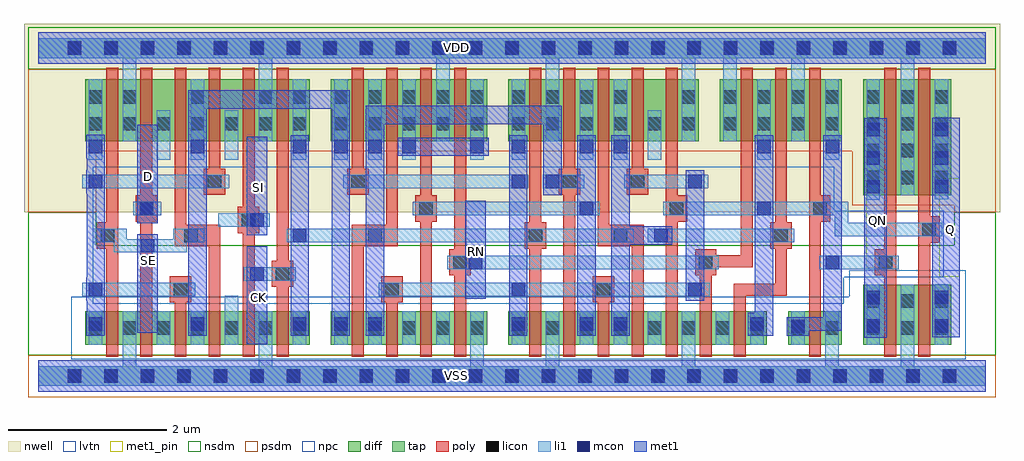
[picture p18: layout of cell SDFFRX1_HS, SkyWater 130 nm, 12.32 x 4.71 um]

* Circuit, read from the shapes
.subckt SDFFRX1_HS CK D Q QN RN SE SI VDD VSS
XM1 VSS SE n1 VSS sky130_fd_pr__nfet_01v8_lvt w=0.425 l=0.15
XM2 n2 D VSS VSS sky130_fd_pr__nfet_01v8_lvt w=0.425 l=0.15
XM3 n3 n1 n2 VSS sky130_fd_pr__nfet_01v8_lvt w=0.425 l=0.15
XM4 n4 SE n3 VSS sky130_fd_pr__nfet_01v8_lvt w=0.425 l=0.15
XM5 VSS SI n4 VSS sky130_fd_pr__nfet_01v8_lvt w=0.425 l=0.15
XM6 n5 CK VSS VSS sky130_fd_pr__nfet_01v8_lvt w=0.425 l=0.15
XM7 n6 n5 n3 VSS sky130_fd_pr__nfet_01v8_lvt w=0.425 l=0.15
XM8 n7 n8 n6 VSS sky130_fd_pr__nfet_01v8_lvt w=0.425 l=0.15
XM9 n9 n10 n7 VSS sky130_fd_pr__nfet_01v8_lvt w=0.425 l=0.15
XM10 VSS RN n9 VSS sky130_fd_pr__nfet_01v8_lvt w=0.425 l=0.15
XM11 VSS n5 n8 VSS sky130_fd_pr__nfet_01v8_lvt w=0.425 l=0.15
XM12 n10 n6 VSS VSS sky130_fd_pr__nfet_01v8_lvt w=0.425 l=0.15
XM13 n11 n8 n10 VSS sky130_fd_pr__nfet_01v8_lvt w=0.425 l=0.15
XM14 n12 n5 n11 VSS sky130_fd_pr__nfet_01v8_lvt w=0.425 l=0.15
XM15 VSS n13 n12 VSS sky130_fd_pr__nfet_01v8_lvt w=0.425 l=0.15
XM16 n14 RN VSS VSS sky130_fd_pr__nfet_01v8_lvt w=0.425 l=0.15
XM17 n13 n11 n14 VSS sky130_fd_pr__nfet_01v8_lvt w=0.425 l=0.15
XM18 VSS n13 n15 VSS sky130_fd_pr__nfet_01v8_lvt w=0.425 l=0.15
XM19 VSS n15 QN VSS sky130_fd_pr__nfet_01v8_lvt w=0.76 l=0.15
XM20 Q n13 VSS VSS sky130_fd_pr__nfet_01v8_lvt w=0.76 l=0.15
XM21 VDD SE n1 VDD sky130_fd_pr__pfet_01v8 w=0.78 l=0.15
XM22 n16 D VDD VDD sky130_fd_pr__pfet_01v8 w=0.78 l=0.15
XM23 n3 SE n16 VDD sky130_fd_pr__pfet_01v8 w=0.78 l=0.15
XM24 n17 n1 n3 VDD sky130_fd_pr__pfet_01v8 w=0.78 l=0.15
XM25 VDD SI n17 VDD sky130_fd_pr__pfet_01v8 w=0.78 l=0.15
XM26 n5 CK VDD VDD sky130_fd_pr__pfet_01v8 w=0.78 l=0.15
XM27 n6 n8 n3 VDD sky130_fd_pr__pfet_01v8 w=0.78 l=0.15
XM28 n18 n5 n6 VDD sky130_fd_pr__pfet_01v8 w=0.78 l=0.15
XM29 VDD n10 n18 VDD sky130_fd_pr__pfet_01v8 w=0.78 l=0.15
XM30 n18 RN VDD VDD sky130_fd_pr__pfet_01v8 w=0.78 l=0.15
XM31 VDD n5 n8 VDD sky130_fd_pr__pfet_01v8 w=0.78 l=0.15
XM32 n10 n6 VDD VDD sky130_fd_pr__pfet_01v8 w=0.78 l=0.15
XM33 n11 n5 n10 VDD sky130_fd_pr__pfet_01v8 w=0.78 l=0.15
XM34 n19 n8 n11 VDD sky130_fd_pr__pfet_01v8 w=0.78 l=0.15
XM35 VDD n13 n19 VDD sky130_fd_pr__pfet_01v8 w=0.78 l=0.15
XM36 n13 RN VDD VDD sky130_fd_pr__pfet_01v8 w=0.78 l=0.15
XM37 VDD n11 n13 VDD sky130_fd_pr__pfet_01v8 w=0.78 l=0.15
XM38 n15 n13 VDD VDD sky130_fd_pr__pfet_01v8 w=0.78 l=0.15
XM39 VDD n15 QN VDD sky130_fd_pr__pfet_01v8 w=1.46 l=0.15
XM40 Q n13 VDD VDD sky130_fd_pr__pfet_01v8 w=1.46 l=0.15
.ends

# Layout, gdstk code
from math import pi, radians
import gdstk
lib = gdstk.Library(unit=1e-6, precision=1e-09)
def R(c, l, rs):  # rectangles x0, y0, x1, y1
    for r in rs: c.add(gdstk.rectangle(r[:2], r[2:], *l))
def A(c, l, x, y, w, h, nx, ny, dx, dy):  # array of equal rectangles
    R(c, l, [(x+i*dx, y+j*dy, x+i*dx+w, y+j*dy+h) for i in range(nx) for j in range(ny)])
def P(c, l, *ps):  # polygons
    for p in ps: c.add(gdstk.Polygon(p, *l))
nwell = (64, 20)
diff = (65, 20)
tap = (65, 44)
poly = (66, 20)
licon = (66, 44)
li1 = (67, 20)
mcon = (67, 44)
met1_pin = (68, 16)
met1 = (68, 20)
nsdm = (93, 44)
psdm = (94, 20)
npc = (95, 20)
lvtn = (125, 44)

licondiff_c_cdns_7587291 = lib.new_cell('LICONDIFF_C_CDNS_7587291728611')
R(licondiff_c_cdns_7587291, diff, [(-0.125,-0.145,0.125,0.145)])
R(licondiff_c_cdns_7587291, licon, [(-0.085,-0.085,0.085,0.085), (-0.085,-0.085,0.085,0.085)])

l1m1_c_cdns_758729172861 = lib.new_cell('L1M1_C_CDNS_758729172861')
R(l1m1_c_cdns_758729172861, li1, [(-0.085,-0.165,0.085,0.165)])
R(l1m1_c_cdns_758729172861, mcon, [(-0.085,-0.085,0.085,0.085)])
R(l1m1_c_cdns_758729172861, met1, [(-0.115,-0.145,0.115,0.145)])

l1m1_c_cdns_758729172860 = lib.new_cell('L1M1_C_CDNS_758729172860')
R(l1m1_c_cdns_758729172860, li1, [(-0.165,-0.085,0.165,0.085)])
R(l1m1_c_cdns_758729172860, mcon, [(-0.085,-0.085,0.085,0.085)])
R(l1m1_c_cdns_758729172860, met1, [(-0.115,-0.145,0.115,0.145)])

l1m1_c_cdns_758729172862 = lib.new_cell('L1M1_C_CDNS_7587291728621')
R(l1m1_c_cdns_758729172862, li1, [(-0.125,-0.085,0.125,0.085)])
R(l1m1_c_cdns_758729172862, mcon, [(-0.085,-0.085,0.085,0.085)])
R(l1m1_c_cdns_758729172862, met1, [(-0.115,-0.145,0.115,0.145)])

c_l1m1_c_cdns_758729172862 = lib.new_cell('L1M1_C_CDNS_7587291728623')
R(c_l1m1_c_cdns_758729172862, li1, [(-0.085,-0.165,0.085,0.165)])
R(c_l1m1_c_cdns_758729172862, mcon, [(-0.085,-0.085,0.085,0.085)])
R(c_l1m1_c_cdns_758729172862, met1, [(-0.145,-0.085,0.145,0.085)])

l1m1_c_cdns_758729172865 = lib.new_cell('L1M1_C_CDNS_758729172865')
R(l1m1_c_cdns_758729172865, li1, [(-0.165,-0.085,0.165,0.085)])
R(l1m1_c_cdns_758729172865, mcon, [(-0.085,-0.085,0.085,0.085)])
R(l1m1_c_cdns_758729172865, met1, [(-0.145,-0.115,0.145,0.115)])

pyl1con_c_cdns_758729172 = lib.new_cell('PYL1CON_C_CDNS_758729172862')
R(pyl1con_c_cdns_758729172, poly, [(-0.135,-0.165,0.135,0.165)])
R(pyl1con_c_cdns_758729172, licon, [(-0.085,-0.085,0.085,0.085)])
R(pyl1con_c_cdns_758729172, npc, [(-0.185,-0.185,0.185,0.185)])

c_pyl1con_c_cdns_758729172 = lib.new_cell('PYL1CON_C_CDNS_7587291728622')
R(c_pyl1con_c_cdns_758729172, poly, [(-0.135,-0.37,0.135,0.21)])
R(c_pyl1con_c_cdns_758729172, licon, [(-0.085,-0.085,0.085,0.085)])
R(c_pyl1con_c_cdns_758729172, npc, [(-0.185,-0.185,0.185,0.185)])

c_pyl1con_c_cdns_758729172_ = lib.new_cell('PYL1CON_C_CDNS_7587291728618')
R(c_pyl1con_c_cdns_758729172_, poly, [(-0.135,-0.29,0.135,0.29)])
R(c_pyl1con_c_cdns_758729172_, licon, [(-0.085,-0.085,0.085,0.085)])
R(c_pyl1con_c_cdns_758729172_, npc, [(-0.185,-0.185,0.185,0.185)])

c_l1m1_c_cdns_758729172861 = lib.new_cell('L1M1_C_CDNS_7587291728613')
R(c_l1m1_c_cdns_758729172861, li1, [(-0.085,-0.525,0.085,0.525)])
A(c_l1m1_c_cdns_758729172861, mcon, -0.085, -0.445, 0.17, 0.17, 1, 3, 0, 0.36)
R(c_l1m1_c_cdns_758729172861, met1, [(-0.115,-0.505,0.115,0.505)])

l1m1_c_cdns_758729172863 = lib.new_cell('L1M1_C_CDNS_758729172863')
R(l1m1_c_cdns_758729172863, li1, [(-0.085,-0.165,0.085,0.165)])
R(l1m1_c_cdns_758729172863, mcon, [(-0.085,-0.085,0.085,0.085)])
R(l1m1_c_cdns_758729172863, met1, [(-0.145,-0.115,0.145,0.115)])

l1m1_c_cdns_758729172864 = lib.new_cell('L1M1_C_CDNS_758729172864')
R(l1m1_c_cdns_758729172864, li1, [(-0.085,-0.345,0.085,0.345)])
R(l1m1_c_cdns_758729172864, mcon, [(-0.085,-0.265,0.085,-0.095), (-0.085,0.095,0.085,0.265)])
R(l1m1_c_cdns_758729172864, met1, [(-0.115,-0.325,0.115,0.325)])

sdffrx1_hs = lib.new_cell('SDFFRX1_HS')
R(sdffrx1_hs, nwell, [(-0.18,2.07,12.14,4.445)])
R(sdffrx1_hs, diff, [(0.595,0.395,3.425,0.82), (3.695,0.395,5.665,0.82), (5.935,0.395,9.195,0.82), (9.465,0.395,10.145,0.82), (10.415,0.395,11.525,1.155), (10.415,2.285,11.525,3.745), (0.595,2.965,3.425,3.745), (3.695,2.965,5.665,3.745), (5.935,2.965,8.335,3.745), (8.605,2.965,10.145,3.745)])
A(sdffrx1_hs, poly, 1.72, 0.245, 0.15, 0.725, 3, 1, 2.67, 0)
R(sdffrx1_hs, poly, [(0.86,0.245,1.01,3.895), (1.29,0.245,1.44,3.895), (2.58,0.245,2.73,3.895), (3.01,0.245,3.16,3.895), (4.82,0.245,4.97,3.895), (5.25,0.245,5.4,3.895), (6.2,0.245,6.35,3.895), (6.63,0.245,6.78,3.895), (7.92,0.245,8.07,3.895), (9.73,0.245,9.88,3.895), (10.68,0.245,10.83,3.895), (11.11,0.245,11.26,3.895), (2.15,2.455,2.3,3.895), (3.96,2.455,4.11,3.895), (7.49,2.455,7.64,3.895)])
P(sdffrx1_hs, poly, [(2.3,1.85),(1.87,1.85),(1.87,3.895),(1.72,3.895),(1.72,1.7),(2.15,1.7),(2.15,0.245),(2.3,0.245)],
  [(4.54,3.895),(4.39,3.895),(4.39,1.85),(3.96,1.85),(3.96,0.245),(4.11,0.245),(4.11,1.7),(4.54,1.7)],
  [(7.64,1.85),(7.21,1.85),(7.21,3.895),(7.06,3.895),(7.06,1.7),(7.49,1.7),(7.49,0.245),(7.64,0.245)],
  [(9.02,3.895),(8.87,3.895),(8.87,1.525),(8.35,1.525),(8.35,0.245),(8.5,0.245),(8.5,1.375),(9.02,1.375)],
  [(9.45,3.895),(9.3,3.895),(9.3,1.165),(8.78,1.165),(8.78,0.245),(8.93,0.245),(8.93,1.015),(9.45,1.015)])
A(sdffrx1_hs, licon, 0.375, -0.085, 0.17, 0.17, 25, 2, 0.46, 4.14)
A(sdffrx1_hs, licon, 0.635, 0.52, 0.17, 0.17, 7, 1, 0.43, 0)
A(sdffrx1_hs, licon, 3.735, 0.52, 0.17, 0.17, 5, 2, 0.43, 2.58)
A(sdffrx1_hs, licon, 5.975, 0.52, 0.17, 0.17, 6, 1, 0.43, 0)
A(sdffrx1_hs, licon, 10.455, 0.52, 0.17, 0.17, 3, 2, 0.43, 0.34)
A(sdffrx1_hs, licon, 10.455, 2.42, 0.17, 0.17, 3, 4, 0.43, 0.34)
A(sdffrx1_hs, licon, 1.065, 3.1, 0.17, 0.17, 3, 2, 0.86, 0.34)
A(sdffrx1_hs, licon, 5.975, 3.1, 0.17, 0.17, 4, 2, 0.43, 0.34)
A(sdffrx1_hs, licon, 8.645, 3.1, 0.17, 0.17, 4, 2, 0.43, 0.34)
A(sdffrx1_hs, licon, 3.735, 3.44, 0.17, 0.17, 5, 1, 0.43, 0)
R(sdffrx1_hs, licon, [(8.985,0.52,9.155,0.69), (9.505,0.52,9.675,0.69), (9.935,0.52,10.105,0.69), (0.635,3.1,0.805,3.27), (3.215,3.1,3.385,3.27), (8.125,3.1,8.295,3.27), (0.635,3.44,0.805,3.61), (3.215,3.44,3.385,3.61), (8.125,3.44,8.295,3.61)])
A(sdffrx1_hs, li1, 3.735, 0.395, 0.17, 0.425, 4, 1, 0.43, 0)
A(sdffrx1_hs, li1, 6.835, 0.395, 0.17, 0.425, 3, 1, 0.43, 0)
A(sdffrx1_hs, li1, 0.635, 2.965, 0.17, 0.78, 3, 1, 1.29, 0)
A(sdffrx1_hs, li1, 3.735, 2.965, 0.17, 0.78, 3, 1, 0.43, 0)
R(sdffrx1_hs, li1, [(0.635,0.395,0.805,0.82), (1.495,0.395,1.665,0.82), (1.925,0.395,2.095,0.82), (2.355,0.395,2.525,1.015), (3.215,0.395,3.385,0.82), (5.975,0.395,6.145,0.82), (8.985,0.395,9.155,0.82), (9.505,0.395,9.675,0.82), (10.455,0.395,10.625,1.155), (11.315,0.395,11.485,1.155), (10.455,2.285,10.625,3.745), (11.315,2.285,11.485,3.745), (5.455,2.965,5.625,3.745), (5.975,2.965,6.145,3.745), (6.835,2.965,7.005,3.745), (7.265,2.965,7.435,3.745), (9.075,2.965,9.245,3.745), (9.935,2.965,10.105,3.745)])
P(sdffrx1_hs, li1, [(2.095,1.86),(1.705,1.86),(1.705,1.73),(1.12,1.73),(1.12,1.86),(0.69,1.86),(0.69,1.69),(0.95,1.69),(0.95,1.56),(1.875,1.56),(1.875,1.69),(2.095,1.69)],
  [(11.41,1.935),(10.225,1.935),(10.225,2.2),(7.89,2.2),(7.89,2.03),(10.055,2.03),(10.055,1.765),(11.41,1.765)],
  [(11.96,4.265),(0,4.265),(0,4.015),(1.065,4.015),(1.065,2.965),(1.235,2.965),(1.235,4.015),(2.785,4.015),(2.785,2.965),(2.955,2.965),(2.955,4.015),(5.025,4.015),(5.025,2.965),(5.195,2.965),(5.195,4.015),(6.405,4.015),(6.405,2.965),(6.575,2.965),(6.575,4.015),(8.125,4.015),(8.125,2.965),(8.295,2.965),(8.295,4.015),(8.645,4.015),(8.645,2.965),(8.815,2.965),(8.815,4.015),(9.505,4.015),(9.505,2.965),(9.675,2.965),(9.675,4.015),(10.885,4.015),(10.885,2.285),(11.055,2.285),(11.055,4.015),(11.96,4.015)],
  [(11.96,0.125),(11.055,0.125),(11.055,1.155),(10.885,1.155),(10.885,0.125),(10.105,0.125),(10.105,0.82),(9.935,0.82),(9.935,0.125),(8.295,0.125),(8.295,0.82),(8.125,0.82),(8.125,0.125),(6.575,0.125),(6.575,0.82),(6.405,0.82),(6.405,0.125),(5.625,0.125),(5.625,0.82),(5.455,0.82),(5.455,0.125),(2.955,0.125),(2.955,0.82),(2.785,0.82),(2.785,0.125),(1.235,0.125),(1.235,0.82),(1.065,0.82),(1.065,0.125),(0,0.125),(0,-0.125),(11.96,-0.125)])
A(sdffrx1_hs, mcon, 0.375, -0.085, 0.17, 0.17, 25, 2, 0.46, 4.14)
R(sdffrx1_hs, met1_pin, [(2.63,0.4,2.89,1.64), (1.25,0.55,1.51,1.79), (5.39,0.975,5.65,2.215), (11.37,1.255,11.63,2.495), (10.45,1.365,10.71,2.605), (2.63,1.78,2.89,3.02), (1.25,1.93,1.51,3.17)])
R(sdffrx1_hs, met1, [(10.425,0.485,10.71,3.255)])
P(sdffrx1_hs, met1, [(8.005,1.89),(7.465,1.89),(7.465,3.04),(7.235,3.04),(7.235,0.51),(7.465,0.51),(7.465,1.66),(8.005,1.66)],
  [(10.14,3.04),(9.91,3.04),(9.91,0.74),(9.59,0.74),(9.59,0.57),(10.14,0.57)],
  [(11.63,3.26),(11.285,3.26),(11.285,0.495),(11.37,0.495),(11.37,0.49),(11.63,0.49)])
R(sdffrx1_hs, nsdm, [(-0.125,3.875,12.085,4.405)])
P(sdffrx1_hs, nsdm, [(12.085,2.07),(11.56,2.07),(11.56,1.65),(0.735,1.65),(0.735,2.07),(-0.125,2.07),(-0.125,0.265),(12.085,0.265)])
R(sdffrx1_hs, psdm, [(-0.125,-0.265,12.085,0.265)])
P(sdffrx1_hs, psdm, [(12.085,3.875),(-0.125,3.875),(-0.125,2.07),(0.735,2.07),(0.735,2.835),(10.275,2.835),(10.275,2.155),(11.56,2.155),(11.56,2.07),(12.085,2.07)])
P(sdffrx1_hs, npc, [(11.43,2.085),(10.05,2.085),(10.05,2.64),(0.69,2.64),(0.69,0.91),(10.17,0.91),(10.17,1.25),(11.43,1.25)])
P(sdffrx1_hs, lvtn, [(11.705,1.335),(10.235,1.335),(10.235,1),(0.415,1),(0.415,0.215),(11.705,0.215)])
sdffrx1_hs.add(gdstk.FlexPath([(1.55,2.115),(1.2,2.115)], 0.17, ends="flush", simple_path=True, layer=67, datatype=20))  # li1
sdffrx1_hs.add(gdstk.FlexPath([(0.555,1.095),(1.98,1.095)], 0.17, ends="flush", simple_path=True, layer=67, datatype=20))  # li1
sdffrx1_hs.add(gdstk.FlexPath([(2.44,2.73),(2.44,3.355)], 0.17, ends="flush", simple_path=True, layer=67, datatype=20))  # li1
sdffrx1_hs.add(gdstk.FlexPath([(3.25,1.29),(2.705,1.29)], 0.17, ends="flush", simple_path=True, layer=67, datatype=20))  # li1
sdffrx1_hs.add(gdstk.FlexPath([(2.82,1.97),(2.275,1.97)], 0.17, ends="flush", simple_path=True, layer=67, datatype=20))  # li1
sdffrx1_hs.add(gdstk.FlexPath([(9.88,1.435),(10.86,1.435)], 0.17, ends="flush", simple_path=True, layer=67, datatype=20))  # li1
sdffrx1_hs.add(gdstk.FlexPath([(1.58,2.73),(1.58,3.355)], 0.17, ends="flush", simple_path=True, layer=67, datatype=20))  # li1
sdffrx1_hs.add(gdstk.FlexPath([(6.365,2.455),(6.89,2.455)], 0.17, ends="flush", simple_path=True, layer=67, datatype=20))  # li1
sdffrx1_hs.add(gdstk.FlexPath([(3.85,2.455),(6.185,2.455)], 0.17, ends="flush", simple_path=True, layer=67, datatype=20))  # li1
sdffrx1_hs.add(gdstk.FlexPath([(7.085,2.115),(4.73,2.115)], 0.17, ends="flush", simple_path=True, layer=67, datatype=20))  # li1
sdffrx1_hs.add(gdstk.FlexPath([(7.78,2.73),(7.78,3.355)], 0.17, ends="flush", simple_path=True, layer=67, datatype=20))  # li1
sdffrx1_hs.add(gdstk.FlexPath([(0.555,2.455),(2.41,2.455)], 0.17, ends="flush", simple_path=True, layer=67, datatype=20))  # li1
sdffrx1_hs.add(gdstk.FlexPath([(3.135,1.775),(7.515,1.775)], 0.17, ends="flush", simple_path=True, layer=67, datatype=20))  # li1
sdffrx1_hs.add(gdstk.FlexPath([(8.64,0.395),(8.64,0.82)], 0.17, ends="flush", simple_path=True, layer=67, datatype=20))  # li1
sdffrx1_hs.add(gdstk.FlexPath([(7.4,2.455),(8.44,2.455)], 0.17, ends="flush", simple_path=True, layer=67, datatype=20))  # li1
sdffrx1_hs.add(gdstk.FlexPath([(4.3,1.095),(8.475,1.095)], 0.17, ends="flush", simple_path=True, layer=67, datatype=20))  # li1
sdffrx1_hs.add(gdstk.FlexPath([(7.695,1.775),(9.54,1.775)], 0.17, ends="flush", simple_path=True, layer=67, datatype=20))  # li1
sdffrx1_hs.add(gdstk.FlexPath([(5.16,1.435),(8.59,1.435)], 0.17, ends="flush", simple_path=True, layer=67, datatype=20))  # li1
sdffrx1_hs.add(gdstk.FlexPath([(0,4.14),(11.96,4.14)], 0.4, ends="flush", simple_path=True, layer=68, datatype=20))  # met1
sdffrx1_hs.add(gdstk.FlexPath([(0,0),(11.96,0)], 0.4, ends="flush", simple_path=True, layer=68, datatype=20))  # met1
sdffrx1_hs.add(gdstk.FlexPath([(3.3,0.51),(3.3,3.04)], 0.23, ends="flush", simple_path=True, layer=68, datatype=20))  # met1
sdffrx1_hs.add(gdstk.FlexPath([(0.725,0.515),(0.725,3.045)], 0.23, ends="flush", simple_path=True, layer=68, datatype=20))  # met1
sdffrx1_hs.add(gdstk.FlexPath([(9.16,0.51),(9.16,3.04)], 0.23, ends="flush", simple_path=True, layer=68, datatype=20))  # met1
sdffrx1_hs.add(gdstk.FlexPath([(3.82,0.51),(3.82,3.49),(2.01,3.49),(2.01,0.51)], 0.23, ends="flush", simple_path=True, layer=68, datatype=20))  # met1
sdffrx1_hs.add(gdstk.FlexPath([(1.38,0.55),(1.38,1.79)], 0.26, ends="flush", simple_path=True, layer=68, datatype=20))  # met1
sdffrx1_hs.add(gdstk.FlexPath([(8.29,0.95),(8.29,2.6)], 0.23, ends="flush", simple_path=True, layer=68, datatype=20))  # met1
sdffrx1_hs.add(gdstk.FlexPath([(2.76,0.4),(2.76,1.64)], 0.26, ends="flush", simple_path=True, layer=68, datatype=20))  # met1
sdffrx1_hs.add(gdstk.FlexPath([(2.76,1.78),(2.76,3.02)], 0.26, ends="flush", simple_path=True, layer=68, datatype=20))  # met1
sdffrx1_hs.add(gdstk.FlexPath([(1.38,1.93),(1.38,3.17)], 0.26, ends="flush", simple_path=True, layer=68, datatype=20))  # met1
sdffrx1_hs.add(gdstk.FlexPath([(5.52,0.975),(5.52,2.215)], 0.26, ends="flush", simple_path=True, layer=68, datatype=20))  # met1
sdffrx1_hs.add(gdstk.FlexPath([(6.49,2.28),(6.49,3.295),(4.25,3.295),(4.25,0.51)], 0.23, ends="flush", simple_path=True, layer=68, datatype=20))  # met1
sdffrx1_hs.add(gdstk.FlexPath([(6.92,0.51),(6.92,3.04)], 0.23, ends="flush", simple_path=True, layer=68, datatype=20))  # met1
sdffrx1_hs.add(gdstk.FlexPath([(6.06,0.51),(6.06,3.04)], 0.23, ends="flush", simple_path=True, layer=68, datatype=20))  # met1
sdffrx1_hs.add(gdstk.FlexPath([(4.535,2.895),(5.685,2.895)], 0.23, ends="flush", simple_path=True, layer=68, datatype=20))  # met1
sdffrx1_hs.add(gdstk.FlexPath([(0,4.14),(11.96,4.14)], 0.25, ends="flush", simple_path=True, layer=65, datatype=44))  # tap
sdffrx1_hs.add(gdstk.FlexPath([(0,0),(11.96,0)], 0.25, ends="flush", simple_path=True, layer=65, datatype=44))  # tap
sdffrx1_hs.add(gdstk.FlexPath([(0,4.14),(11.96,4.14)], 0.4, ends="flush", simple_path=True, layer=68, datatype=16))  # met1_pin
sdffrx1_hs.add(gdstk.FlexPath([(0,0),(11.96,0)], 0.4, ends="flush", simple_path=True, layer=68, datatype=16))  # met1_pin
sdffrx1_hs.add(gdstk.Reference(licondiff_c_cdns_7587291, (8.64,0.605)))
sdffrx1_hs.add(gdstk.Reference(licondiff_c_cdns_7587291, (7.78,3.185)))
sdffrx1_hs.add(gdstk.Reference(licondiff_c_cdns_7587291, (7.78,0.605)))
sdffrx1_hs.add(gdstk.Reference(licondiff_c_cdns_7587291, (5.11,0.605)))
sdffrx1_hs.add(gdstk.Reference(licondiff_c_cdns_7587291, (4.68,0.605)))
sdffrx1_hs.add(gdstk.Reference(licondiff_c_cdns_7587291, (2.44,0.605)))
sdffrx1_hs.add(gdstk.Reference(licondiff_c_cdns_7587291, (2.44,3.185)))
sdffrx1_hs.add(gdstk.Reference(licondiff_c_cdns_7587291, (1.58,0.605)))
sdffrx1_hs.add(gdstk.Reference(licondiff_c_cdns_7587291, (1.58,3.185)))
sdffrx1_hs.add(gdstk.Reference(l1m1_c_cdns_758729172861, (10.025,2.895)))
sdffrx1_hs.add(gdstk.Reference(l1m1_c_cdns_758729172861, (9.16,2.895)))
sdffrx1_hs.add(gdstk.Reference(l1m1_c_cdns_758729172861, (9.07,0.655)))
sdffrx1_hs.add(gdstk.Reference(l1m1_c_cdns_758729172861, (3.82,0.655)))
sdffrx1_hs.add(gdstk.Reference(l1m1_c_cdns_758729172861, (3.82,2.895)))
sdffrx1_hs.add(gdstk.Reference(l1m1_c_cdns_758729172861, (7.35,0.655)))
sdffrx1_hs.add(gdstk.Reference(l1m1_c_cdns_758729172861, (7.35,2.895)))
sdffrx1_hs.add(gdstk.Reference(l1m1_c_cdns_758729172861, (6.92,2.895)))
sdffrx1_hs.add(gdstk.Reference(l1m1_c_cdns_758729172861, (6.92,0.655)))
sdffrx1_hs.add(gdstk.Reference(l1m1_c_cdns_758729172861, (6.06,2.895)))
sdffrx1_hs.add(gdstk.Reference(l1m1_c_cdns_758729172861, (6.06,0.655)))
sdffrx1_hs.add(gdstk.Reference(l1m1_c_cdns_758729172861, (4.25,0.655)))
sdffrx1_hs.add(gdstk.Reference(l1m1_c_cdns_758729172861, (4.25,2.895)))
sdffrx1_hs.add(gdstk.Reference(l1m1_c_cdns_758729172861, (3.3,2.895)))
sdffrx1_hs.add(gdstk.Reference(l1m1_c_cdns_758729172861, (3.3,0.655)))
sdffrx1_hs.add(gdstk.Reference(l1m1_c_cdns_758729172861, (2.01,0.655)))
sdffrx1_hs.add(gdstk.Reference(l1m1_c_cdns_758729172861, (2.01,2.895)))
sdffrx1_hs.add(gdstk.Reference(l1m1_c_cdns_758729172861, (0.72,0.655)))
sdffrx1_hs.add(gdstk.Reference(l1m1_c_cdns_758729172861, (0.72,2.895)))
sdffrx1_hs.add(gdstk.Reference(l1m1_c_cdns_758729172860, (10.025,1.435)))
sdffrx1_hs.add(gdstk.Reference(l1m1_c_cdns_758729172860, (9.16,2.115)))
sdffrx1_hs.add(gdstk.Reference(l1m1_c_cdns_758729172860, (8.29,2.455)))
sdffrx1_hs.add(gdstk.Reference(l1m1_c_cdns_758729172860, (8.29,1.095)))
sdffrx1_hs.add(gdstk.Reference(l1m1_c_cdns_758729172860, (6.92,2.115), rotation=pi, x_reflection=True))
sdffrx1_hs.add(gdstk.Reference(l1m1_c_cdns_758729172860, (6.06,1.095)))
sdffrx1_hs.add(gdstk.Reference(l1m1_c_cdns_758729172860, (5.52,1.435), x_reflection=True))
sdffrx1_hs.add(gdstk.Reference(l1m1_c_cdns_758729172860, (2.76,1.29), x_reflection=True))
sdffrx1_hs.add(gdstk.Reference(l1m1_c_cdns_758729172860, (3.3,1.775)))
sdffrx1_hs.add(gdstk.Reference(l1m1_c_cdns_758729172860, (2.76,1.97), x_reflection=True))
sdffrx1_hs.add(gdstk.Reference(l1m1_c_cdns_758729172860, (1.38,1.645), x_reflection=True))
sdffrx1_hs.add(gdstk.Reference(l1m1_c_cdns_758729172860, (1.365,2.115), x_reflection=True))
sdffrx1_hs.add(gdstk.Reference(l1m1_c_cdns_758729172860, (0.72,2.455)))
sdffrx1_hs.add(gdstk.Reference(l1m1_c_cdns_758729172860, (0.72,1.095)))
sdffrx1_hs.add(gdstk.Reference(l1m1_c_cdns_758729172862, (6.49,2.455)))
sdffrx1_hs.add(gdstk.Reference(l1m1_c_cdns_758729172862, (6.06,2.455)))
sdffrx1_hs.add(gdstk.Reference(c_l1m1_c_cdns_758729172862, (5.54,2.895)))
sdffrx1_hs.add(gdstk.Reference(c_l1m1_c_cdns_758729172862, (4.68,2.895)))
sdffrx1_hs.add(gdstk.Reference(l1m1_c_cdns_758729172865, (7.86,1.775)))
sdffrx1_hs.add(gdstk.Reference(pyl1con_c_cdns_758729172, (11.245,1.85), rotation=pi, x_reflection=True))
sdffrx1_hs.add(gdstk.Reference(pyl1con_c_cdns_758729172, (10.695,1.435), rotation=pi, x_reflection=True))
sdffrx1_hs.add(gdstk.Reference(pyl1con_c_cdns_758729172, (9.865,2.115), rotation=pi))
sdffrx1_hs.add(gdstk.Reference(pyl1con_c_cdns_758729172, (9.375,1.775), rotation=pi, x_reflection=True))
sdffrx1_hs.add(gdstk.Reference(pyl1con_c_cdns_758729172, (8.425,1.435), rotation=pi, x_reflection=True))
sdffrx1_hs.add(gdstk.Reference(pyl1con_c_cdns_758729172, (7.565,2.455), rotation=pi))
sdffrx1_hs.add(gdstk.Reference(pyl1con_c_cdns_758729172, (7.135,1.095), x_reflection=True))
sdffrx1_hs.add(gdstk.Reference(pyl1con_c_cdns_758729172, (6.275,1.775), x_reflection=True))
sdffrx1_hs.add(gdstk.Reference(pyl1con_c_cdns_758729172, (5.325,1.435), rotation=pi, x_reflection=True))
sdffrx1_hs.add(gdstk.Reference(pyl1con_c_cdns_758729172, (4.895,2.115)))
sdffrx1_hs.add(gdstk.Reference(pyl1con_c_cdns_758729172, (4.465,1.095), rotation=pi))
sdffrx1_hs.add(gdstk.Reference(pyl1con_c_cdns_758729172, (6.705,2.455), rotation=pi))
sdffrx1_hs.add(gdstk.Reference(pyl1con_c_cdns_758729172, (4.035,2.455), x_reflection=True))
sdffrx1_hs.add(gdstk.Reference(pyl1con_c_cdns_758729172, (3.085,1.29), x_reflection=True))
sdffrx1_hs.add(gdstk.Reference(pyl1con_c_cdns_758729172, (2.655,1.97), x_reflection=True))
sdffrx1_hs.add(gdstk.Reference(pyl1con_c_cdns_758729172, (0.875,1.775)))
sdffrx1_hs.add(gdstk.Reference(pyl1con_c_cdns_758729172, (1.365,2.115)))
sdffrx1_hs.add(gdstk.Reference(pyl1con_c_cdns_758729172, (2.225,2.455), rotation=pi))
sdffrx1_hs.add(gdstk.Reference(pyl1con_c_cdns_758729172, (1.795,1.095), x_reflection=True))
sdffrx1_hs.add(gdstk.Reference(pyl1con_c_cdns_758729172, (8.055,2.115), rotation=pi, x_reflection=True))
sdffrx1_hs.add(gdstk.Reference(c_pyl1con_c_cdns_758729172, (1.93,1.775), rotation=pi/2))
sdffrx1_hs.add(gdstk.Reference(c_pyl1con_c_cdns_758729172_, (7.35,1.775), rotation=pi/2))
sdffrx1_hs.add(gdstk.Reference(c_pyl1con_c_cdns_758729172_, (4.25,1.775), rotation=pi/2, x_reflection=True))
sdffrx1_hs.add(gdstk.Reference(c_l1m1_c_cdns_758729172861, (11.4,2.755)))
sdffrx1_hs.add(gdstk.Reference(c_l1m1_c_cdns_758729172861, (10.54,2.75)))
sdffrx1_hs.add(gdstk.Reference(l1m1_c_cdns_758729172863, (9.59,0.625)))
sdffrx1_hs.add(gdstk.Reference(l1m1_c_cdns_758729172864, (11.4,0.815)))
sdffrx1_hs.add(gdstk.Reference(l1m1_c_cdns_758729172864, (10.54,0.81)))
sdffrx1_hs.add(gdstk.Label('VDD', (5.285,4.145), layer=68, texttype=5))
sdffrx1_hs.add(gdstk.Label('QN', (10.595,1.96), layer=68, texttype=5))
sdffrx1_hs.add(gdstk.Label('VSS', (5.285,0.005), layer=68, texttype=5))
sdffrx1_hs.add(gdstk.Label('SE', (1.395,1.455), layer=68, texttype=5))
sdffrx1_hs.add(gdstk.Label('Q', (11.515,1.85), layer=68, texttype=5))
sdffrx1_hs.add(gdstk.Label('RN', (5.535,1.57), layer=68, texttype=5))
sdffrx1_hs.add(gdstk.Label('CK', (2.775,0.995), layer=68, texttype=5))
sdffrx1_hs.add(gdstk.Label('SI', (2.775,2.375), layer=68, texttype=5))
sdffrx1_hs.add(gdstk.Label('D', (1.395,2.525), layer=68, texttype=5))

lib.write_gds('SDFFRX1_HS.gds')
